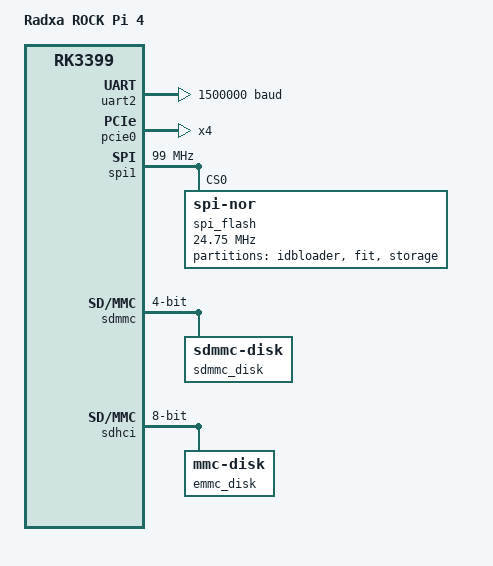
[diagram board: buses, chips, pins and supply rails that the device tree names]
/*
 * Copyright The Zephyr Project Contributors
 * SPDX-License-Identifier: Apache-2.0
 */

#include <zephyr/dt-bindings/gpio/gpio.h>
#include <zephyr/dt-bindings/memory-attr/memory-attr-arm64.h>
#include "rock_pi_4_memory.dtsi"

/ {
	model = "Radxa ROCK Pi 4";
	compatible = "radxa,rock-pi-4", "rockchip,rk3399";

	chosen {
		zephyr,sram = &sram0;
		zephyr,console = &uart2;
		zephyr,shell-uart = &uart2;
	};

	shm: memory@6200000 {
		compatible = "zephyr,memory-region", "mmio-sram";
		reg = <ROCK_PI_4_SHM_BASE ROCK_PI_4_SHM_SIZE>;
		zephyr,memory-region = "SHM";
		zephyr,memory-attr = <DT_MEM_ARM64_MMU_NORMAL_NC>;
	};

	pcie_ep_mem: memory@8000000 {
		compatible = "zephyr,memory-region", "mmio-sram";
		reg = <ROCK_PI_4_PCIE_EP_BASE ROCK_PI_4_PCIE_EP_SIZE>;
		zephyr,memory-region = "PCIE_EP";
		zephyr,memory-attr = <DT_MEM_ARM64_MMU_NORMAL_NC>;
	};
};

&uart2 {
	current-speed = <1500000>;
	status = "okay";
};

&gpio2 {
	status = "okay";
};

&gpio4 {
	status = "okay";
};

/*
 * M.2 M-key slot. In endpoint mode the host drives PERST# on GPIO4_D3 (the
 * "ep-gpios" line of root complex mode) and the slot 3.3 V supply
 * (vcc3v3_pcie, GPIO2_D2) must stay off. The RK3399 PHY has no reference
 * clock input, so the host must accept a separate reference clock.
 */
&pcie0_ep {
	perst-gpios = <&gpio4 27 GPIO_ACTIVE_LOW>;
	slot-power-gpios = <&gpio2 26 GPIO_ACTIVE_HIGH>;
	num-lanes = <4>;
	max-link-speed = <2>;
};

/* Root complex role: PERST# and the slot 3.3 V are ours to drive */
&pcie0 {
	perst-gpios = <&gpio4 27 GPIO_ACTIVE_LOW>;
	slot-power-gpios = <&gpio2 26 GPIO_ACTIVE_HIGH>;
	num-lanes = <4>;
	max-link-speed = <2>;
};

/*
 * SPI flash on SPI1 (4A+/4B+/4C, v1.4+; absent on older boards, then the
 * flash device just fails to come up). SPI1 shares GPIO1_A7/B0 with UART4.
 * Layout as rk3399-image.pl writes it; 4 MiB parts at least.
 */
&spi1 {
	pinctrl-0 = <&spi1_pins>;
	pinctrl-names = "default";
	clock-frequency = <DT_FREQ_K(99000)>;
	status = "okay";

	spi_flash: flash@0 {
		compatible = "jedec,spi-nor";
		reg = <0>;
		spi-max-frequency = <DT_FREQ_K(24750)>;

		partitions {
			compatible = "fixed-partitions";
			#address-cells = <1>;
			#size-cells = <1>;

			idbloader_partition: partition@0 {
				label = "idbloader";
				reg = <0x0 0xe0000>;
				read-only;
			};

			fit_partition: partition@e0000 {
				label = "fit";
				reg = <0xe0000 0x220000>;
			};

			storage_partition: partition@300000 {
				label = "storage";
				reg = <0x300000 0x100000>;
			};
		};
	};
};

/*
 * micro SD, 3.3 V, up to high speed. The slot doubles as JTAG (breakout):
 * no card -> JTAG by force_jtag, breakout seen as a card -> JTAG by iomux.
 */
&sdmmc {
	pinctrl-0 = <&sdmmc_pins>;
	pinctrl-names = "default";
	bus-width = <4>;
	rockchip,sd-jtag;
	status = "okay";

	sdmmc_disk: sdmmc {
		compatible = "zephyr,sdmmc-disk";
		disk-name = "SD";
		status = "okay";
	};
};

/*
 * eMMC module: boot medium (idbloader sector 64, FIT sector 2048) and
 * storage (FAT partition from 16 MiB: settings, LLEXT, images).
 */
&sdhci {
	bus-width = <8>;
	status = "okay";

	emmc_disk: emmc {
		compatible = "zephyr,mmc-disk";
		disk-name = "EMMC";
		bus-width = <8>;
		status = "okay";
	};
};
